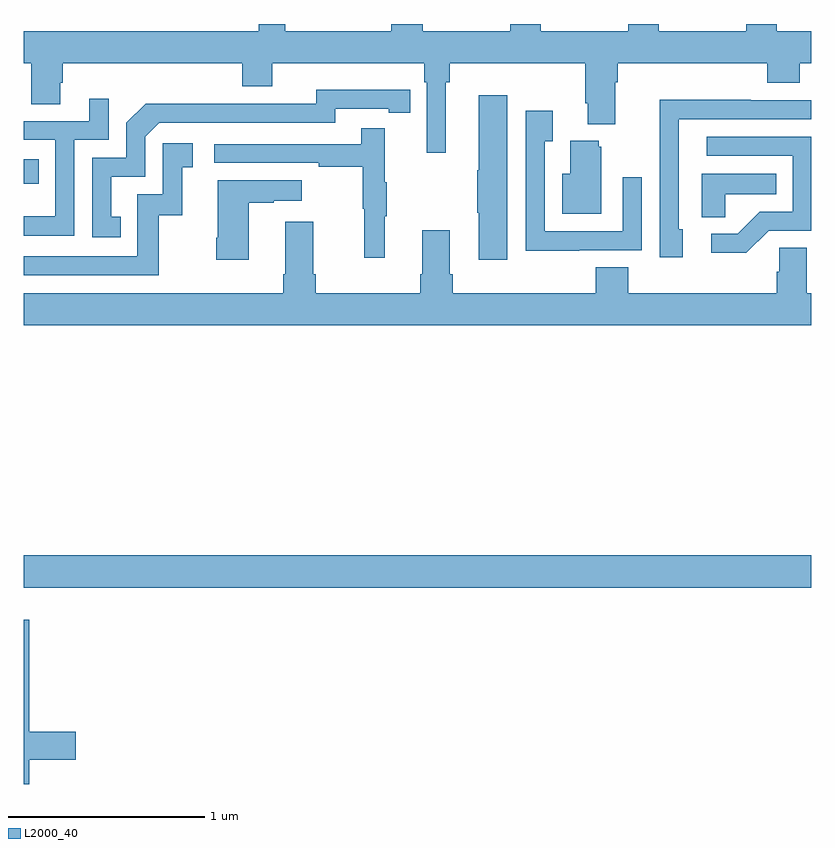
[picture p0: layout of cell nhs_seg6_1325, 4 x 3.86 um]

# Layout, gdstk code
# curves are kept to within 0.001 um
import gdstk
lib = gdstk.Library(unit=1e-6, precision=1e-09)
def R(c, l, rs):  # rectangles x0, y0, x1, y1
    for r in rs: c.add(gdstk.rectangle(r[:2], r[2:], *l))
def P(c, l, *ps):  # polygons
    for p in ps: c.add(gdstk.Polygon(p, *l))
L2000_40 = (2000, 40)

nhs_seg6_1325 = lib.new_cell('nhs_seg6_1325')
R(nhs_seg6_1325, L2000_40, [(191,980.636,195,980.8), (191,982.689,191.075,982.812)])
P(nhs_seg6_1325, L2000_40, [(194.826,983.5),(194.671,983.5),(194.671,983.464),(194.226,983.464),(194.226,983.5),(194.071,983.5),(194.071,983.464),(193.626,983.464),(193.626,983.5),(193.471,983.5),(193.471,983.464),(193.026,983.464),(193.026,983.5),(192.866,983.5),(192.866,983.464),(192.329,983.464),(192.329,983.5),(192.193,983.5),(192.193,983.464),(191,983.464),(191,983.3),(191.038,983.3),(191.038,983.092),(191.185,983.092),(191.185,983.202),(191.198,983.202),(191.198,983.3),(192.11,983.3),(192.11,983.183),(192.262,983.183),(192.262,983.3),(193.034,983.3),(193.034,983.204),(193.047,983.204),(193.047,982.845),(193.144,982.845),(193.144,983.204),(193.163,983.204),(193.163,983.3),(193.853,983.3),(193.853,983.098),(193.865,983.098),(193.865,982.991),(194.005,982.991),(194.005,983.204),(194.018,983.204),(194.018,983.3),(194.777,983.3),(194.777,983.201),(194.942,983.201),(194.942,983.3),(195,983.3),(195,983.464),(194.826,983.464)],
  [(191.492,982.521),(191.443,982.521),(191.443,982.725),(191.616,982.725),(191.616,982.926),(191.688,982.998),(192.582,982.998),(192.582,983.07),(192.854,983.07),(192.854,983.05),(192.962,983.05),(192.962,983.166),(192.486,983.167),(192.486,983.094),(192.026,983.094),(192.026,983.096),(191.618,983.096),(191.52,982.998),(191.52,982.821),(191.346,982.821),(191.346,982.416),(191.492,982.416)],
  [(193.456,983.137),(193.31,983.137),(193.31,982.757),(193.303,982.757),(193.303,982.54),(193.31,982.54),(193.31,982.302),(193.456,982.302)],
  [(191.256,982.911),(191.43,982.911),(191.43,983.119),(191.333,983.119),(191.333,983.007),(191,983.007),(191,982.911),(191.16,982.911),(191.16,982.522),(191,982.522),(191,982.425),(191.256,982.425)],
  [(194.347,982.458),(194.328,982.458),(194.328,983.016),(195,983.016),(195,983.112),(194.693,983.112),(194.693,983.114),(194.23,983.114),(194.23,982.807),(194.232,982.807),(194.232,982.314),(194.347,982.314)],
  [(193.823,982.35),(194.139,982.35),(194.139,982.72),(194.043,982.72),(194.043,982.446),(193.647,982.446),(193.647,982.903),(193.687,982.903),(193.687,983.059),(193.551,983.059),(193.551,982.349),(193.823,982.349)],
  [(192.833,982.523),(192.844,982.523),(192.844,982.697),(192.833,982.697),(192.833,982.969),(192.715,982.969),(192.715,982.89),(191.967,982.89),(191.967,982.794),(192.499,982.794),(192.499,982.774),(192.723,982.774),(192.723,982.56),(192.73,982.56),(192.73,982.311),(192.833,982.311)],
  [(194.784,982.449),(195,982.449),(195,982.926),(194.469,982.926),(194.469,982.83),(194.907,982.83),(194.907,982.545),(194.738,982.545),(194.627,982.434),(194.493,982.434),(194.493,982.337),(194.671,982.337)],
  [(193.933,982.875),(193.922,982.875),(193.922,982.906),(193.775,982.906),(193.775,982.738),(193.736,982.738),(193.736,982.535),(193.933,982.535)],
  [(191.686,982.527),(191.804,982.527),(191.804,982.773),(191.857,982.773),(191.857,982.894),(191.706,982.894),(191.706,982.635),(191.577,982.635),(191.577,982.32),(191,982.32),(191,982.224),(191.686,982.224)],
  [(194.565,982.634),(194.822,982.634),(194.822,982.738),(194.444,982.738),(194.444,982.519),(194.565,982.519)],
  [(192.142,982.591),(192.269,982.591),(192.269,982.601),(192.412,982.601),(192.412,982.705),(191.984,982.705),(191.984,982.414),(191.977,982.414),(191.977,982.302),(192.142,982.302)],
  [(195,982.132),(194.977,982.132),(194.977,982.364),(194.838,982.364),(194.838,982.241),(194.825,982.241),(194.825,982.132),(194.072,982.132),(194.072,982.265),(193.907,982.265),(193.907,982.132),(193.178,982.132),(193.178,982.228),(193.165,982.228),(193.165,982.453),(193.025,982.453),(193.025,982.228),(193.013,982.228),(193.013,982.132),(192.482,982.132),(192.482,982.228),(192.469,982.228),(192.469,982.495),(192.329,982.495),(192.329,982.228),(192.317,982.228),(192.317,982.132),(191,982.132),(191,981.968),(195,981.968)],
  [(191.027,979.762),(191.263,979.762),(191.263,979.904),(191.027,979.904),(191.027,980.473),(191,980.473),(191,979.638),(191.027,979.638)])

lib.write_gds('nhs_seg6_1325.gds')
